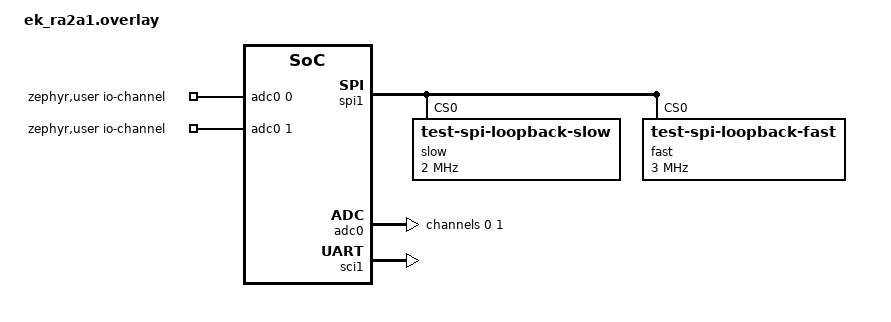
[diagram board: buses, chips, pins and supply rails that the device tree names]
/*
 * Copyright (c) 2024 Renesas Electronics Corporation
 * SPDX-License-Identifier: Apache-2.0
 */

&spi1 {
	rx-dtc;
	tx-dtc;

	slow@0 {
		compatible = "test-spi-loopback-slow";
		reg = <0>;
		spi-max-frequency = <2000000>;
	};

	fast@0 {
		compatible = "test-spi-loopback-fast";
		reg = <0>;
		spi-max-frequency = <3000000>;
	};
};

/ {
	zephyr,user {
		io-channels = <&adc0 0>, <&adc0 1>;
	};
};

&pinctrl {
	adc0_default: adc0_default {
		group1 {
			psels = <RA_PSEL(RA_PSEL_ADC, 5, 0)>,
				<RA_PSEL(RA_PSEL_ADC, 5, 1)>;
			renesas,analog-enable;
		};
	};
};

&adc0 {
	status = "okay";
	#address-cells = <1>;
	#size-cells = <0>;
	interrupts = <31 1>;
	interrupt-names = "scanend";
	channel@0 {
		reg = <0>;
		zephyr,gain = "ADC_GAIN_1";
		zephyr,reference = "ADC_REF_EXTERNAL0";
		zephyr,resolution = <15>;
		zephyr,acquisition-time = <ADC_ACQ_TIME_DEFAULT>;
		zephyr,vref-mv = <3300>;
	};
	channel@1 {
		reg = <1>;
		zephyr,gain = "ADC_GAIN_1";
		zephyr,reference = "ADC_REF_EXTERNAL0";
		zephyr,resolution = <15>;
		zephyr,acquisition-time = <ADC_ACQ_TIME_DEFAULT>;
		zephyr,vref-mv = <3300>;
	};
};

&pinctrl {
	sci1_default: sci1_default {
		group1 {
			psels = <RA_PSEL(RA_PSEL_SCI_1, 4, 10)>,
				<RA_PSEL(RA_PSEL_SCI_1, 4, 11)>;
		};
	};
};

&sci1 {
	pinctrl-0 = <&sci1_default>;
	pinctrl-names = "default";
	status = "okay";
	dut: uart {
		current-speed = <115200>;
		status = "okay";
	};
};
